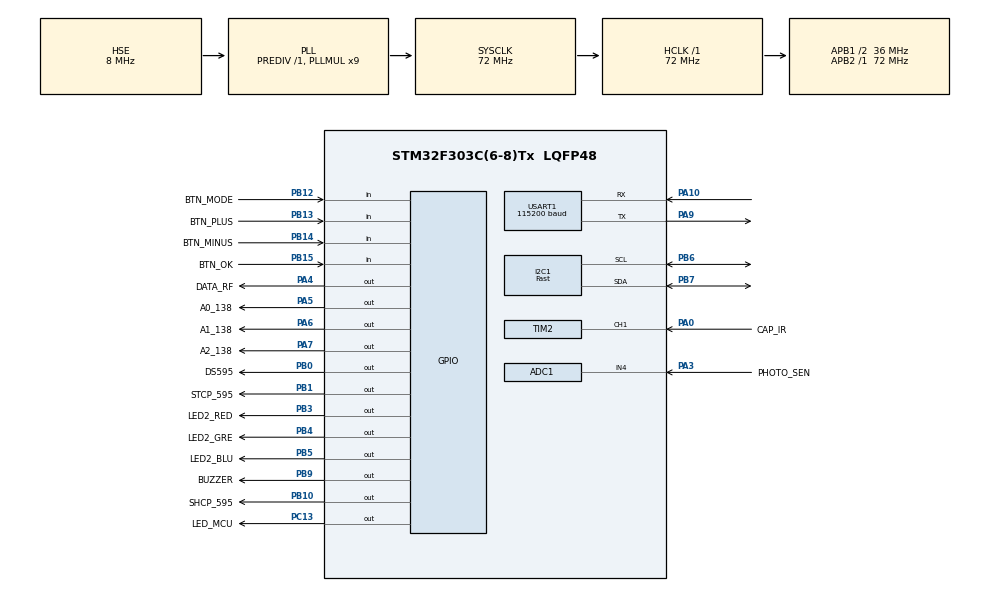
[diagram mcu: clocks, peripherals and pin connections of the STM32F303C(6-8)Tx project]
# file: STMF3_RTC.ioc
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ADC1.Channel-6\#ChannelRegularConversion=ADC_CHANNEL_4
ADC1.NbrOfConversionFlag=1
ADC1.Offset-6\#ChannelRegularConversion=0
ADC1.OffsetNumber-6\#ChannelRegularConversion=ADC_OFFSET_NONE
ADC1.Rank-6\#ChannelRegularConversion=1
ADC1.SamplingTime-6\#ChannelRegularConversion=ADC_SAMPLETIME_181CYCLES_5
ADC1.SubFamily=STM32F303x8
ADC1.master=1
Dma.I2C1_RX.0.Direction=DMA_PERIPH_TO_MEMORY
Dma.I2C1_RX.0.Instance=DMA1_Channel3
Dma.I2C1_RX.0.MemDataAlignment=DMA_MDATAALIGN_BYTE
Dma.I2C1_RX.0.MemInc=DMA_MINC_ENABLE
Dma.I2C1_RX.0.Mode=DMA_CIRCULAR
Dma.I2C1_RX.0.PeriphDataAlignment=DMA_PDATAALIGN_BYTE
Dma.I2C1_RX.0.PeriphInc=DMA_PINC_DISABLE
Dma.I2C1_RX.0.Priority=DMA_PRIORITY_LOW
Dma.Request0=I2C1_RX
I2C1.I2C_Fall_Time=100
I2C1.I2C_Rise_Time=100
I2C1.I2C_Speed_Mode=I2C_Fast
I2C1.Timing=0x0010020A
IWDG.Prescaler=IWDG_PRESCALER_16
IWDG.Reload=1000
IWDG.Window=1000
Mcu.Family=STM32F3
Mcu.Name=STM32F303C(6-8)Tx
Mcu.Package=LQFP48
NVIC.DMA1_Channel3_IRQn=true\:0\:0\:false\:false\:true\:false
NVIC.I2C1_EV_IRQn=true\:0\:0\:false\:false\:true\:true
NVIC.PriorityGroup=NVIC_PRIORITYGROUP_4
NVIC.TIM1_BRK_TIM15_IRQn=true\:0\:0\:false\:false\:true\:true
NVIC.TIM2_IRQn=true\:0\:0\:false\:false\:true\:true
NVIC.TIM3_IRQn=true\:0\:0\:false\:false\:true\:true
NVIC.USART1_IRQn=true\:0\:0\:false\:false\:true\:true
PA0.GPIO_Label=CAP_IR
PA0.Signal=S_TIM2_CH1_ETR
PA10.Mode=Asynchronous
PA10.Signal=USART1_RX
PA3.GPIO_Label=PHOTO_SEN
PA3.Mode=IN4-Single-Ended
PA3.Signal=ADC1_IN4
PA4.GPIO_Label=DATA_RF
PA4.GPIO_Speed=GPIO_SPEED_FREQ_HIGH
PA4.Signal=GPIO_Output
PA5.GPIO_Label=A0_138
PA5.GPIO_Speed=GPIO_SPEED_FREQ_HIGH
PA5.Signal=GPIO_Output
PA6.GPIO_Label=A1_138
PA6.GPIO_Speed=GPIO_SPEED_FREQ_HIGH
PA6.Signal=GPIO_Output
PA7.GPIO_Label=A2_138
PA7.GPIO_Speed=GPIO_SPEED_FREQ_HIGH
PA7.Signal=GPIO_Output
PA9.GPIO_PuPd=GPIO_PULLUP
PA9.Mode=Asynchronous
PA9.Signal=USART1_TX
PB0.GPIO_Label=DS595
PB0.GPIO_Speed=GPIO_SPEED_FREQ_HIGH
PB0.Signal=GPIO_Output
PB1.GPIO_Label=STCP_595
PB1.GPIO_Speed=GPIO_SPEED_FREQ_HIGH
PB1.Signal=GPIO_Output
PB10.GPIO_Label=SHCP_595
PB10.GPIO_Speed=GPIO_SPEED_FREQ_HIGH
PB10.Signal=GPIO_Output
PB12.GPIO_Label=BTN_MODE
PB12.GPIO_PuPd=GPIO_PULLUP
PB12.Signal=GPIO_Input
PB13.GPIO_Label=BTN_PLUS
PB13.GPIO_PuPd=GPIO_PULLUP
PB13.Signal=GPIO_Input
PB14.GPIO_Label=BTN_MINUS
PB14.GPIO_PuPd=GPIO_PULLUP
PB14.Signal=GPIO_Input
PB15.GPIO_Label=BTN_OK
PB15.GPIO_PuPd=GPIO_PULLUP
PB15.Signal=GPIO_Input
PB3.GPIO_Label=LED2_RED
PB3.GPIO_Speed=GPIO_SPEED_FREQ_HIGH
PB3.Signal=GPIO_Output
PB4.GPIO_Label=LED2_GRE
PB4.GPIO_Speed=GPIO_SPEED_FREQ_HIGH
PB4.Signal=GPIO_Output
PB5.GPIO_Label=LED2_BLU
PB5.GPIO_Speed=GPIO_SPEED_FREQ_HIGH
PB5.Signal=GPIO_Output
PB6.Mode=I2C
PB6.Signal=I2C1_SCL
PB7.Mode=I2C
PB7.Signal=I2C1_SDA
PB9.GPIO_Label=BUZZER
PB9.GPIO_Speed=GPIO_SPEED_FREQ_HIGH
PB9.Signal=GPIO_Output
PC13.GPIO_Label=LED_MCU
PC13.Signal=GPIO_Output
PF0\ /\ OSC_IN.Mode=HSE-External-Oscillator
PF0\ /\ OSC_IN.Signal=RCC_OSC_IN
PF1\ /\ OSC_OUT.Mode=HSE-External-Oscillator
PF1\ /\ OSC_OUT.Signal=RCC_OSC_OUT
ProjectManager.HeapSize=0x200
ProjectManager.StackSize=0x400
ProjectManager.TargetToolchain=TrueSTUDIO
RCC.AHBFreq_Value=72000000
RCC.APB1CLKDivider=RCC_HCLK_DIV2
RCC.APB1Freq_Value=36000000
RCC.APB1TimFreq_Value=72000000
RCC.APB2Freq_Value=72000000
RCC.APB2TimFreq_Value=72000000
RCC.CortexFreq_Value=72000000
RCC.HCLKFreq_Value=72000000
RCC.HSE_VALUE=8000000
RCC.HSI_VALUE=8000000
RCC.LSE_VALUE=32768
RCC.PLLMUL=RCC_PLL_MUL9
RCC.PLLSourceVirtual=RCC_PLLSOURCE_HSE
RCC.SYSCLKFreq_VALUE=72000000
RCC.SYSCLKSourceVirtual=RCC_SYSCLKSOURCE_PLLCLK
RCC.Usart1ClockSelection=RCC_USART1CLKSOURCE_SYSCLK
SH.S_TIM2_CH1_ETR.0=TIM2_CH1,Input_Capture1_from_TI1
TIM15.Period=0xffff
TIM15.Prescaler=71
TIM2.AutoReloadPreload=TIM_AUTORELOAD_PRELOAD_ENABLE
TIM2.Channel-Input_Capture1_from_TI1=TIM_CHANNEL_1
TIM2.ICPolarity_CH1=TIM_INPUTCHANNELPOLARITY_BOTHEDGE
TIM2.Period=0xffffffff
TIM2.Prescaler=71
TIM3.Period=999
TIM3.Prescaler=71
USART1.BaudRate=115200
USART1.VirtualMode-Asynchronous=VM_ASYNC
VP_IWDG_VS_IWDG.Mode=IWDG_Activate
VP_TIM15_VS_ClockSourceINT.Mode=Internal
VP_TIM2_VS_ClockSourceINT.Mode=Internal
VP_TIM3_VS_ClockSourceINT.Mode=Internal
board=custom

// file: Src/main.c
/**
  ******************************************************************************
  * @file           : main.c
  * @brief          : Main program body
  ******************************************************************************
  ** This notice applies to any and all portions of this file
  * that are not between comment pairs USER CODE BEGIN and
  * USER CODE END. Other portions of this file, whether
  * inserted by the user or by software development tools
  * are owned by their respective copyright owners.
  *
  * COPYRIGHT(c) 2019 STMicroelectronics
  *
  * Redistribution and use in source and binary forms, with or without modification,
  * are permitted provided that the following conditions are met:
  *   1. Redistributions of source code must retain the above copyright notice,
  *      this list of conditions and the following disclaimer.
  *   2. Redistributions in binary form must reproduce the above copyright notice,
  *      this list of conditions and the following disclaimer in the documentation
  *      and/or other materials provided with the distribution.
  *   3. Neither the name of STMicroelectronics nor the names of its contributors
  *      may be used to endorse or promote products derived from this software
  *      without specific prior written permission.
  *
  * THIS SOFTWARE IS PROVIDED BY THE COPYRIGHT HOLDERS AND CONTRIBUTORS "AS IS"
  * AND ANY EXPRESS OR IMPLIED WARRANTIES, INCLUDING, BUT NOT LIMITED TO, THE
  * IMPLIED WARRANTIES OF MERCHANTABILITY AND FITNESS FOR A PARTICULAR PURPOSE ARE
  * DISCLAIMED. IN NO EVENT SHALL THE COPYRIGHT HOLDER OR CONTRIBUTORS BE LIABLE
  * FOR ANY DIRECT, INDIRECT, INCIDENTAL, SPECIAL, EXEMPLARY, OR CONSEQUENTIAL
  * DAMAGES (INCLUDING, BUT NOT LIMITED TO, PROCUREMENT OF SUBSTITUTE GOODS OR
  * SERVICES; LOSS OF USE, DATA, OR PROFITS; OR BUSINESS INTERRUPTION) HOWEVER
  * CAUSED AND ON ANY THEORY OF LIABILITY, WHETHER IN CONTRACT, STRICT LIABILITY,
  * OR TORT (INCLUDING NEGLIGENCE OR OTHERWISE) ARISING IN ANY WAY OUT OF THE USE
  * OF THIS SOFTWARE, EVEN IF ADVISED OF THE POSSIBILITY OF SUCH DAMAGE.
  *
  ******************************************************************************
  */
#include "main.h"
#include "stm32f3xx_hal.h"
#include "adc.h"
#include "dma.h"
#include "i2c.h"
#include "iwdg.h"
#include "tim.h"
#include "usart.h"
#include "gpio.h"

/* USER CODE BEGIN Includes */
#include "stdio.h"
#include "uartHandle.h"
#include "led.h"
#include "led7seg.h"
#include "buzzer.h"
#include "display.h"
#include "colorControl.h"
#include "ds3231.h"
#include "capture.h"
#include "button.h"
#include "uiControl.h"
#include "userConfig.h"
#include "flash.h"
/* USER CODE END Includes */

/* USER CODE BEGIN PV */
/* Private variables ---------------------------------------------------------*/
static uint8_t time1ms_tick = 0;
static uint8_t TimeOut10ms = 0;
static uint8_t TimeOut100ms = 0;
static uint16_t TimeOut1000ms = 0;
static uint16_t TimeOut5000ms = 0;

/* USER CODE END PV */

void SystemClock_Config(void);

/* USER CODE BEGIN PFP */
/* Private function prototypes -----------------------------------------------*/
static void ProcessTimeout1ms(void);
static void ProcessTimeout10ms(void);
static void ProcessTimeout100ms(void);
static void ProcessTimeout1000ms(void);
static void ProcessTimeout5000ms(void);
/* USER CODE END PFP */

/* USER CODE BEGIN 0 */
uint32_t g_sys_tick = 0;
/* USER CODE END 0 */

int main(void)
{

  /* MCU Configuration----------------------------------------------------------*/

  /* Reset of all peripherals, Initializes the Flash interface and the Systick. */
  HAL_Init();

  /* Configure the system clock */
  SystemClock_Config();

  /* Initialize all configured peripherals */
  MX_GPIO_Init();
  MX_DMA_Init();
  MX_ADC1_Init();
  MX_I2C1_Init();
  MX_TIM2_Init();
  MX_USART1_UART_Init();
  MX_TIM3_Init();
  MX_TIM15_Init();
  //MX_IWDG_Init();
  /* USER CODE BEGIN 2 */
  uart1_init();
  userConfig_flashConfig();

  display_ledShowStart();
  display_config();
  MX_IWDG_Init();
  /* USER CODE END 2 */

  /* Infinite loop */
  /* USER CODE BEGIN WHILE */
 time1ms_tick = 0;
 TimeOut10ms = 0;
 TimeOut100ms = 0;
 TimeOut1000ms = 0;
 TimeOut5000ms = 0;
  while (1)
  {

  /* USER CODE END WHILE */

  /* USER CODE BEGIN 3 */
	  	  	if(time1ms_tick)
	  		{
	  			time1ms_tick = 0;
	  			ProcessTimeout1ms();
	  		}
	  		if(TimeOut10ms >= 10)
	  		{
	  			TimeOut10ms = 0;
	  			ProcessTimeout10ms();
	  		}

	  		if(TimeOut100ms >= 100)
	  		{
	  			TimeOut100ms = 0;
	  			ProcessTimeout100ms();
	  		}

	  		if(TimeOut1000ms >= 1000)
	  		{
	  			TimeOut1000ms = 0;
	  			ProcessTimeout1000ms();
	  		}

	  		if(TimeOut5000ms >= 5000)
	  		{

	  			TimeOut5000ms = 0;
	  			ProcessTimeout5000ms();
	  		}
  }
  /* USER CODE END 3 */

}

void SystemClock_Config(void)
{

  RCC_OscInitTypeDef RCC_OscInitStruct;
  RCC_ClkInitTypeDef RCC_ClkInitStruct;
  RCC_PeriphCLKInitTypeDef PeriphClkInit;

    /**Initializes the CPU, AHB and APB busses clocks
    */
  RCC_OscInitStruct.OscillatorType = RCC_OSCILLATORTYPE_HSI|RCC_OSCILLATORTYPE_LSI
                              |RCC_OSCILLATORTYPE_HSE;
  RCC_OscInitStruct.HSEState = RCC_HSE_ON;
  RCC_OscInitStruct.HSEPredivValue = RCC_HSE_PREDIV_DIV1;
  RCC_OscInitStruct.HSIState = RCC_HSI_ON;
  RCC_OscInitStruct.HSICalibrationValue = 16;
  RCC_OscInitStruct.LSIState = RCC_LSI_ON;
  RCC_OscInitStruct.PLL.PLLState = RCC_PLL_ON;
  RCC_OscInitStruct.PLL.PLLSource = RCC_PLLSOURCE_HSE;
  RCC_OscInitStruct.PLL.PLLMUL = RCC_PLL_MUL9;
  if (HAL_RCC_OscConfig(&RCC_OscInitStruct) != HAL_OK)
  {
    _Error_Handler(__FILE__, __LINE__);
  }

    /**Initializes the CPU, AHB and APB busses clocks
    */
  RCC_ClkInitStruct.ClockType = RCC_CLOCKTYPE_HCLK|RCC_CLOCKTYPE_SYSCLK
                              |RCC_CLOCKTYPE_PCLK1|RCC_CLOCKTYPE_PCLK2;
  RCC_ClkInitStruct.SYSCLKSource = RCC_SYSCLKSOURCE_PLLCLK;
  RCC_ClkInitStruct.AHBCLKDivider = RCC_SYSCLK_DIV1;
  RCC_ClkInitStruct.APB1CLKDivider = RCC_HCLK_DIV2;
  RCC_ClkInitStruct.APB2CLKDivider = RCC_HCLK_DIV1;

  if (HAL_RCC_ClockConfig(&RCC_ClkInitStruct, FLASH_LATENCY_2) != HAL_OK)
  {
    _Error_Handler(__FILE__, __LINE__);
  }

  PeriphClkInit.PeriphClockSelection = RCC_PERIPHCLK_USART1|RCC_PERIPHCLK_I2C1
                              |RCC_PERIPHCLK_ADC12;
  PeriphClkInit.Usart1ClockSelection = RCC_USART1CLKSOURCE_SYSCLK;
  PeriphClkInit.Adc12ClockSelection = RCC_ADC12PLLCLK_DIV1;
  PeriphClkInit.I2c1ClockSelection = RCC_I2C1CLKSOURCE_HSI;
  if (HAL_RCCEx_PeriphCLKConfig(&PeriphClkInit) != HAL_OK)
  {
    _Error_Handler(__FILE__, __LINE__);
  }

    /**Configure the Systick interrupt time
    */
  HAL_SYSTICK_Config(HAL_RCC_GetHCLKFreq()/1000);

    /**Configure the Systick
    */
  HAL_SYSTICK_CLKSourceConfig(SYSTICK_CLKSOURCE_HCLK);

  /* SysTick_IRQn interrupt configuration */
  HAL_NVIC_SetPriority(SysTick_IRQn, 0, 0);
}

/* USER CODE BEGIN 4 */
void SystemManagementTask(void)
{
	time1ms_tick = 1;

	if(TimeOut10ms < 10)
		TimeOut10ms++;

	if(TimeOut100ms < 100)
		TimeOut100ms++;

	if(TimeOut1000ms < 1000)
		TimeOut1000ms++;

	if(TimeOut5000ms < 5000)
		TimeOut5000ms++;

}

/*****************************************************************************/
/**
 * @brief	:  Xu ly cac process
 * @param	:
 * @retval	:
 * @author	:
 * @created	:
 * @version	:
 * @reviewer:
 */
static void ProcessTimeout1ms(void)
{
	uart1_Handle_tick();

}
static void ProcessTimeout10ms(void)
{
	led_toggleStatusMcu(50);
	display_processTick();
	btn_processEvent();
	colorControl_fadeLed();
	HAL_IWDG_Refresh(&hiwdg);
}

static void ProcessTimeout100ms(void)
{
	btn_processState();
	btn_holdPlusOrMinusFast();
	capture_tick();
}

static void ProcessTimeout1000ms(void)
{
	uiControl_checkTimeLearningIR();
	uiControl_checkTimeSetting();
	uiControl_checkTimeShowTemp();
	ds3231_getTimeDateTick();
}

static void ProcessTimeout5000ms(void)
{

}
/* USER CODE END 4 */

void _Error_Handler(char *file, int line)
{
  while(1)
  {
  }
}

/************************ (C) COPYRIGHT STMicroelectronics *****END OF FILE****/
